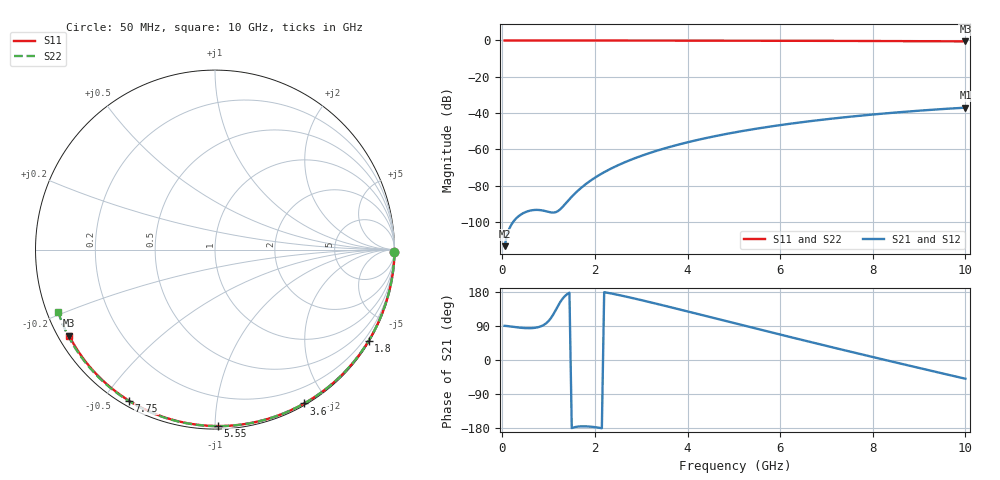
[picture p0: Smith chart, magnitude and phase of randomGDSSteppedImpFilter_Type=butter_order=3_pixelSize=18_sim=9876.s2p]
! freq	dB(S11)	phase(S11)	dB(S12)	phase(S12)
!  dB(S21)	phase(S21)	dB(S22)	phase(S22)
!S-par simulation data
#  GHz  S  DB  R 50
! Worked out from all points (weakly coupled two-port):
!   200 points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, 50 MHz to 10 GHz, reference 50 ohm
!   highest |S21| = -37.05 dB at 10 GHz (marker M1); lowest = -113.4 dB at 50 MHz (marker M2)
!   lowest |S11| = -0.5 dB at 10 GHz (marker M3), VSWR 34.51, Z = 1.56 - j13.7 ohm
!   |S11| at or under -10 dB: nowhere
!   |S22| runs from -0.5 to 0.0 dB; largest |S21 - S12| = 0
!   S11 on the Smith chart (normalised r, x): 50 MHz: open; 1.8 GHz: 0.03, -3.64; 3.6 GHz: 0.02, -1.74; 5.55 GHz: 0.02, -1.01; 7.75 GHz: 0.02, -0.58; 10 GHz: 0.03, -0.27
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0.05  -0.00 -0.9  -113.44 90.1  -113.44 90.1  -0.00 -0.9
0.45  -0.01 -7.8  -95.27 84.5  -95.27 84.5  -0.01 -8.2
0.9  -0.02 -15.5  -93.91 92.9  -93.91 92.9  -0.02 -16.4
1.3  -0.03 -22.3  -91.85 161.5  -91.85 161.5  -0.03 -23.5
1.75  -0.04 -29.9  -80.27 -175.0  -80.27 -175.0  -0.04 -31.5
1.8  -0.04 -30.7  -79.27 -175.1  -79.27 -175.1  -0.04 -32.4
1.95  -0.04 -33.2  -76.52 -176.5  -76.52 -176.5  -0.04 -35.0
2.1  -0.05 -35.7  -74.11 -179.0  -74.11 -179.0  -0.05 -37.6
2.3  -0.05 -39.0  -71.28 176.8  -71.28 176.8  -0.05 -41.1
2.5  -0.05 -42.3  -68.80 171.9  -68.80 171.9  -0.06 -44.6
2.9  -0.06 -48.8  -64.59 161.0  -64.59 161.0  -0.07 -51.4
3.4  -0.08 -56.8  -60.31 146.4  -60.31 146.4  -0.08 -59.8
3.6  -0.08 -59.9  -58.83 140.4  -58.83 140.4  -0.08 -63.1
4.3  -0.10 -70.7  -54.37 119.1  -54.37 119.1  -0.11 -74.4
5.05  -0.13 -81.9  -50.55 96.1  -50.55 96.1  -0.13 -86.1
5.55  -0.15 -89.1  -48.40 80.8  -48.40 80.8  -0.15 -93.8
6.1  -0.17 -97.0  -46.33 64.2  -46.33 64.2  -0.18 -102.0
6.7  -0.21 -105.3  -44.34 46.1  -44.34 46.1  -0.22 -110.8
7.75  -0.28 -119.6  -41.44 15.1  -41.44 15.1  -0.29 -125.9
8.35  -0.33 -127.6  -40.05 -2.3  -40.05 -2.3  -0.35 -134.5
9.2  -0.41 -138.8  -38.36 -26.7  -38.36 -26.7  -0.43 -146.6
10  -0.50 -149.4  -37.05 -49.4  -37.05 -49.4  -0.53 -158.2
